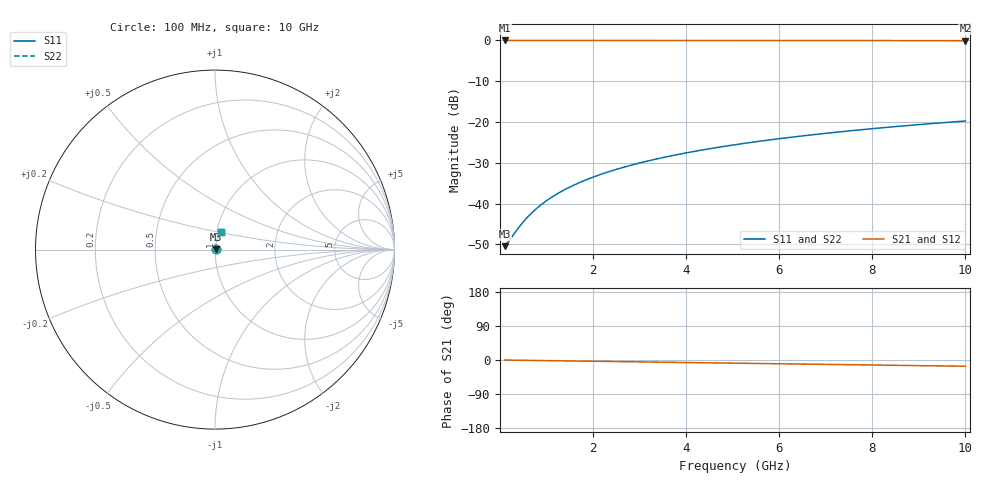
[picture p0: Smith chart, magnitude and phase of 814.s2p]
# Hz S RI R 50.00
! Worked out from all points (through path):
!   100 points, 100 MHz to 10 GHz, reference 50 ohm
!   highest |S21| = -0.02 dB at 100 MHz (marker M1); lowest = -0.1 dB at 10 GHz (marker M2)
!   group delay of S21, straight-line fit = 4.59 ps
!   lowest |S11| = -50.4 dB at 100 MHz (marker M3), VSWR 1.01, Z = 50.3 + j0.104 ohm
!   |S11| at or under -10 dB: start of sweep to end of sweep
!   |S22| runs from -50.4 to -19.8 dB; largest |S21 - S12| = 0
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1e8  0.00283 0.00104  0.9972 -0.00288  0.9972 -0.00288  0.00283 0.00104
2e8  0.00285 0.00207  0.9971 -0.00576  0.9971 -0.00576  0.00285 0.00207
4e8  0.00291 0.00415  0.9971 -0.0115  0.9971 -0.0115  0.00291 0.00415
5e8  0.00295 0.00518  0.997 -0.0144  0.997 -0.0144  0.00295 0.00518
6e8  0.00299 0.00622  0.9969 -0.0173  0.9969 -0.0173  0.00299 0.00622
7e8  0.00303 0.00726  0.9969 -0.0202  0.9969 -0.0202  0.00303 0.00726
8e8  0.00309 0.00829  0.9968 -0.023  0.9968 -0.023  0.00309 0.00829
1e9  0.00321 0.0104  0.9966 -0.0288  0.9966 -0.0288  0.00321 0.0104
1.2e9  0.00335 0.0124  0.9964 -0.0345  0.9964 -0.0345  0.00335 0.0124
1.5e9  0.0036 0.0155  0.996 -0.0432  0.996 -0.0432  0.0036 0.0155
1.8e9  0.00391 0.0186  0.9955 -0.0518  0.9955 -0.0518  0.00391 0.0186
2.1e9  0.00427 0.0217  0.9949 -0.0604  0.9949 -0.0604  0.00427 0.0217
2.5e9  0.00483 0.0258  0.9941 -0.0719  0.9941 -0.0719  0.00483 0.0258
2.9e9  0.00549 0.0299  0.993 -0.0834  0.993 -0.0834  0.00549 0.0299
3.4e9  0.00644 0.035  0.9915 -0.0977  0.9915 -0.0977  0.00644 0.035
4.2e9  0.00826 0.0431  0.9887 -0.1205  0.9887 -0.1205  0.00826 0.0431
5.1e9  0.0108 0.052  0.9847 -0.1461  0.9847 -0.1461  0.0108 0.052
5.9e9  0.0134 0.0599  0.9806 -0.1687  0.9806 -0.1687  0.0134 0.0599
6.7e9  0.0163 0.0676  0.9759 -0.1911  0.9759 -0.1911  0.0163 0.0676
7.5e9  0.0196 0.0752  0.9706 -0.2135  0.9706 -0.2135  0.0196 0.0752
8.4e9  0.0238 0.0835  0.964 -0.2384  0.964 -0.2384  0.0238 0.0835
1e10  0.0322 0.0977  0.9505 -0.282  0.9505 -0.282  0.0322 0.0977
